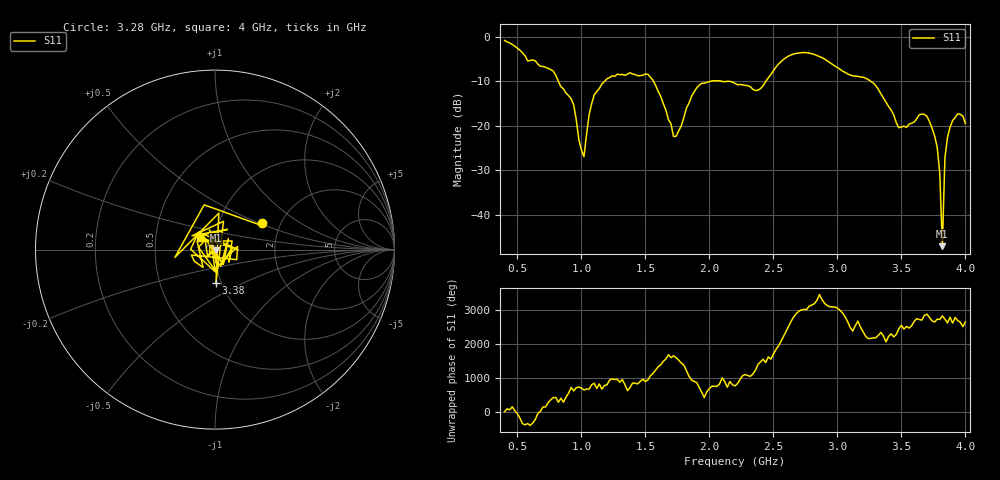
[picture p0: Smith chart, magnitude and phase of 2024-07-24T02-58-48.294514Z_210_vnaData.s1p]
!Created with skrf (http://scikit-rf.org).
# Hz S RI R 50.0
!freq ReS11 ImS11
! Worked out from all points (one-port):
!   181 points, 400 MHz to 4 GHz, reference 50 ohm
!   lowest |S11| = -47.1 dB at 3.82 GHz (marker M1), VSWR 1.01, Z = 50.3 - j0.298 ohm
!   |S11| at or under -10 dB: 819.4 MHz to 1.182 GHz (362.9 MHz wide, 36.3 % of centre); 1.563 GHz to 2.012 GHz (448.5 MHz wide, 25.1 % of centre); 3.26 GHz to end of sweep (the widest 3 of 4)
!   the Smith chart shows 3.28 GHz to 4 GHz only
!   S11 on the Smith chart (normalised r, x): 3.28 GHz: 1.61, +0.52; 3.38 GHz: 0.94, -0.36; 4 GHz: 0.84, +0.11
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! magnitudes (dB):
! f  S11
! 400 MHz  -0.8
! 780 MHz  -7.7
! 860 MHz  -11.7
! 940 MHz  -15.3
! 1.02 GHz  -27.0
! 1.06 GHz  -17.6
! 1.1 GHz  -13.1
! 1.3 GHz  -8.5
! 1.52 GHz  -8.4
! 1.72 GHz  -22.5
! 1.76 GHz  -21.2
! 1.92 GHz  -10.9
! 2.2 GHz  -10.5
! 2.38 GHz  -12.0
! 2.66 GHz  -3.9
! 3.1 GHz  -8.6
! 3.28 GHz  -10.4
! 3.38 GHz  -14.7
! 3.48 GHz  -20.5
! 3.56 GHz  -19.7
! 3.68 GHz  -17.5
! 3.76 GHz  -22.3
! 3.8 GHz  -30.8
! 3.82 GHz  -47.1
! 3.84 GHz  -27.3
! 3.86 GHz  -22.7
! 3.94 GHz  -17.4
! 4 GHz  -19.5
